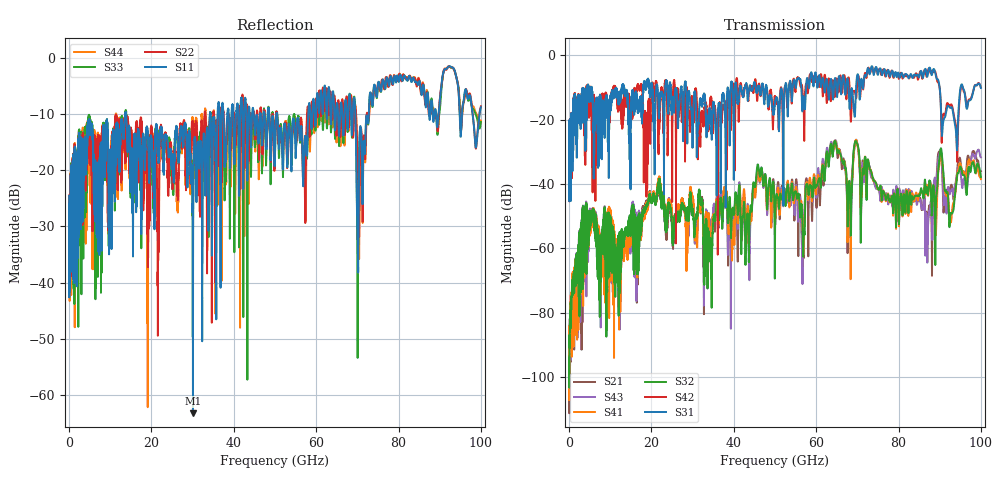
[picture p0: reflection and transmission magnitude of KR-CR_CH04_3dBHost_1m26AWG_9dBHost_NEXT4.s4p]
# GHz S MA R 50.00
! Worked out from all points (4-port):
!   10000 points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, 10 MHz to 100 GHz, reference 50 ohm
!   strongest paths, dB at 10 MHz, 25.01 GHz, 50.01 GHz, 75.01 GHz, 100 GHz:
!     S31: -28.5, -16.1, -14.7, -6.1, -10.2
!     S42: -28.5, -28.8, -12.7, -5.7, -10.0
!     S32: -94.0, -52.7, -56.7, -41.6, -37.8
!     S41: -96.3, -49.2, -51.4, -41.6, -38.5
!     S43: -101.0, -49.6, -48.3, -41.2, -31.7
!     S21: -105.1, -52.2, -51.9, -41.4, -36.0
!   lowest |S11| = -63.3 dB at 30.08 GHz (marker M1), VSWR 1.00, Z = 50.1 - j0.0138 ohm
!   |S11| at or under -10 dB: start of sweep to 13.64 GHz; 13.85 GHz to 34.22 GHz (20.37 GHz wide, 84.8 % of centre); 50.52 GHz to 58.08 GHz (7.561 GHz wide, 13.9 % of centre)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
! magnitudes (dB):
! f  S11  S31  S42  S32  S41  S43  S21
! 10 MHz  -24.6  -28.5  -28.5  -94.0  -96.3  -101.0  -105.1
! 5.52 GHz  -12.7  -11.7  -17.2  -49.3  -49.1  -49.2  -49.3
! 30.08 GHz  -63.3  -23.1  -16.6  -49.0  -44.4  -45.4  -47.1
! 56.71 GHz  -18.6  -15.8  -11.5  -54.4  -54.4  -68.6  -65.8
! 69.73 GHz  -17.5  -9.3  -13.4  -26.8  -26.4  -26.5  -26.3
! 86.94 GHz  -6.3  -6.7  -6.3  -41.4  -40.5  -58.1  -55.9
! 100 GHz  -8.8  -10.2  -10.0  -37.8  -38.5  -31.7  -36.0
